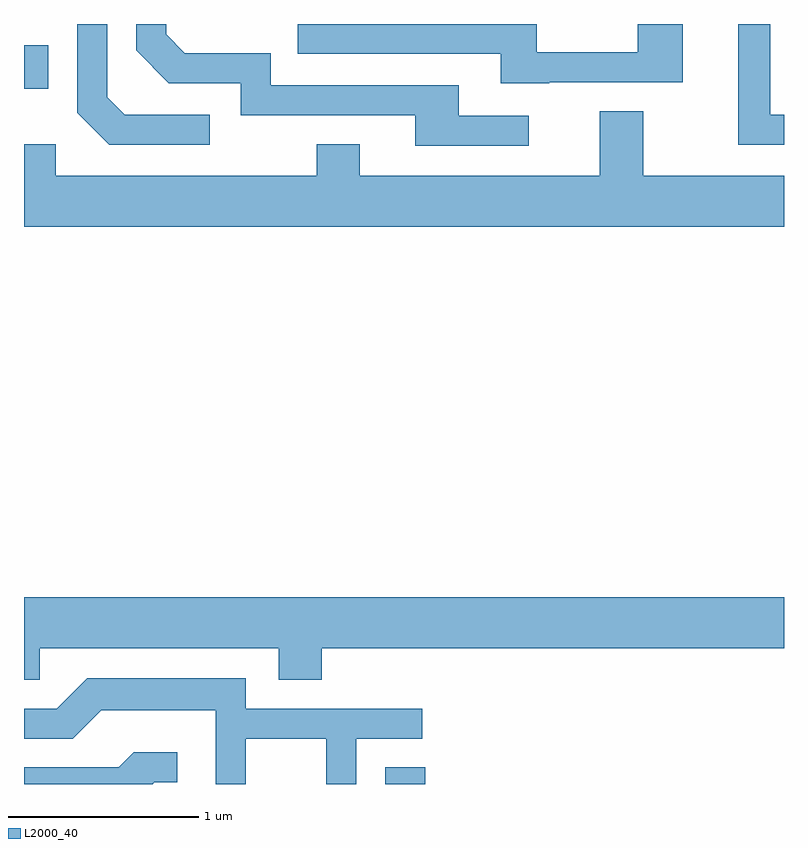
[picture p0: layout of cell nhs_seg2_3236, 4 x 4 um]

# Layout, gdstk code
import gdstk
lib = gdstk.Library(unit=1e-6, precision=1e-09)
def R(c, l, rs):  # rectangles x0, y0, x1, y1
    for r in rs: c.add(gdstk.rectangle(r[:2], r[2:], *l))
def P(c, l, *ps):  # polygons
    for p in ps: c.add(gdstk.Polygon(p, *l))
L2000_40 = (2000, 40)

nhs_seg2_3236 = lib.new_cell('nhs_seg2_3236')
R(nhs_seg2_3236, L2000_40, [(281.511,1069.802,281.724,1069.889), (279.611,1073.461,279.739,1073.689)])
P(nhs_seg2_3236, L2000_40, [(282.375,1073.496),(283.079,1073.496),(283.079,1073.802),(282.841,1073.802),(282.841,1073.654),(282.309,1073.654),(282.309,1073.802),(281.053,1073.802),(281.053,1073.646),(282.121,1073.646),(282.121,1073.491),(282.375,1073.491)],
  [(282.268,1073.319),(281.899,1073.319),(281.899,1073.479),(280.909,1073.479),(280.909,1073.649),(280.457,1073.649),(280.359,1073.747),(280.359,1073.802),(280.201,1073.802),(280.201,1073.664),(280.374,1073.491),(280.751,1073.491),(280.751,1073.321),(281.671,1073.321),(281.671,1073.161),(282.268,1073.161)],
  [(283.611,1073.324),(283.539,1073.324),(283.539,1073.802),(283.371,1073.802),(283.371,1073.166),(283.611,1073.166)],
  [(280.588,1073.324),(280.142,1073.324),(280.049,1073.417),(280.049,1073.802),(279.891,1073.802),(279.891,1073.334),(280.059,1073.166),(280.588,1073.166)],
  [(283.611,1073.004),(282.869,1073.004),(282.869,1073.344),(282.641,1073.344),(282.641,1073.004),(281.379,1073.004),(281.379,1073.169),(281.151,1073.169),(281.151,1073.004),(279.779,1073.004),(279.779,1073.169),(279.611,1073.169),(279.611,1072.736),(283.611,1072.736)],
  [(279.694,1070.516),(280.951,1070.516),(280.951,1070.351),(281.179,1070.351),(281.179,1070.516),(283.611,1070.516),(283.611,1070.784),(279.611,1070.784),(279.611,1070.351),(279.694,1070.351)],
  [(280.779,1070.041),(281.201,1070.041),(281.201,1069.802),(281.359,1069.802),(281.359,1070.041),(281.708,1070.041),(281.708,1070.199),(280.779,1070.199),(280.779,1070.359),(279.944,1070.359),(279.784,1070.199),(279.611,1070.199),(279.611,1070.041),(279.867,1070.041),(280.017,1070.191),(280.621,1070.191),(280.621,1069.802),(280.779,1069.802)],
  [(280.297,1069.811),(280.418,1069.811),(280.418,1069.969),(280.189,1069.969),(280.109,1069.889),(279.611,1069.889),(279.611,1069.802),(280.288,1069.802)])

lib.write_gds('nhs_seg2_3236.gds')
